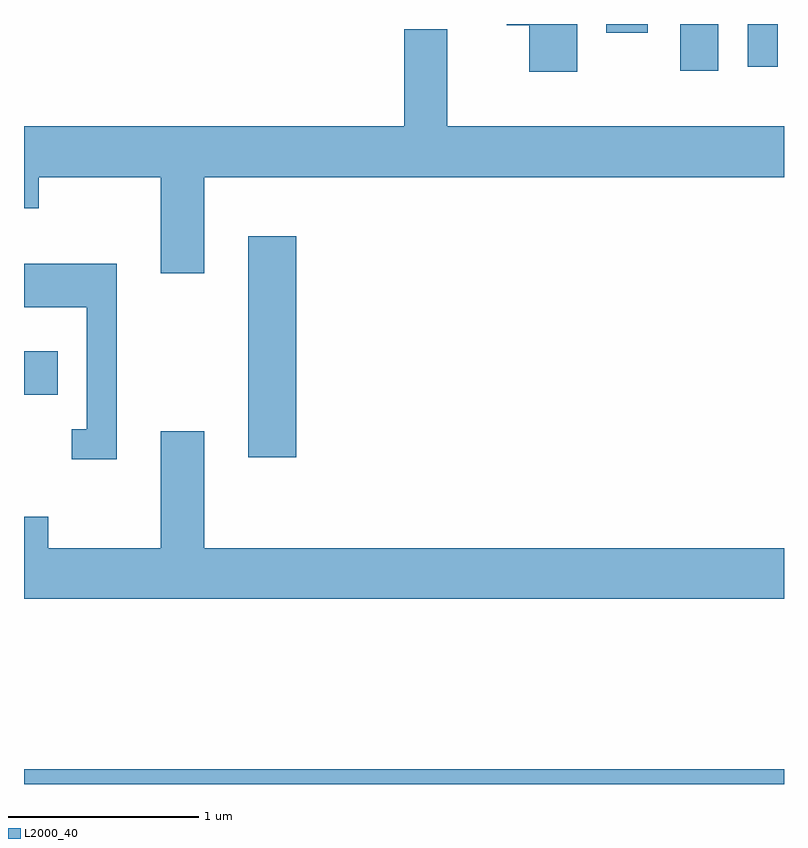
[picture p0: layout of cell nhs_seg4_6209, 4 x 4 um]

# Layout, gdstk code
import gdstk
lib = gdstk.Library(unit=1e-6, precision=1e-09)
def R(c, l, rs):  # rectangles x0, y0, x1, y1
    for r in rs: c.add(gdstk.rectangle(r[:2], r[2:], *l))
def P(c, l, *ps):  # polygons
    for p in ps: c.add(gdstk.Polygon(p, *l))
L2000_40 = (2000, 40)

nhs_seg4_6209 = lib.new_cell('nhs_seg4_6209')
R(nhs_seg4_6209, L2000_40, [(367.611,1295.982,371.611,1296.059), (368.791,1297.701,369.044,1298.864), (367.611,1298.031,367.789,1298.259), (371.066,1299.736,371.264,1299.982), (371.421,1299.758,371.579,1299.982), (370.676,1299.936,370.894,1299.982)])
P(nhs_seg4_6209, L2000_40, [(370.524,1299.982),(370.151,1299.982),(370.151,1299.976),(370.271,1299.976),(370.271,1299.731),(370.524,1299.731)],
  [(368.559,1299.176),(371.611,1299.176),(371.611,1299.444),(369.839,1299.444),(369.839,1299.954),(369.611,1299.954),(369.611,1299.444),(367.611,1299.444),(367.611,1299.011),(367.689,1299.011),(367.689,1299.176),(368.331,1299.176),(368.331,1298.671),(368.559,1298.671)],
  [(368.099,1298.719),(367.611,1298.719),(367.611,1298.491),(367.941,1298.491),(367.941,1297.849),(367.863,1297.849),(367.863,1297.691),(368.099,1297.691)],
  [(371.611,1297.224),(368.559,1297.224),(368.559,1297.839),(368.331,1297.839),(368.331,1297.224),(367.739,1297.224),(367.739,1297.389),(367.611,1297.389),(367.611,1296.956),(371.611,1296.956)])

lib.write_gds('nhs_seg4_6209.gds')
